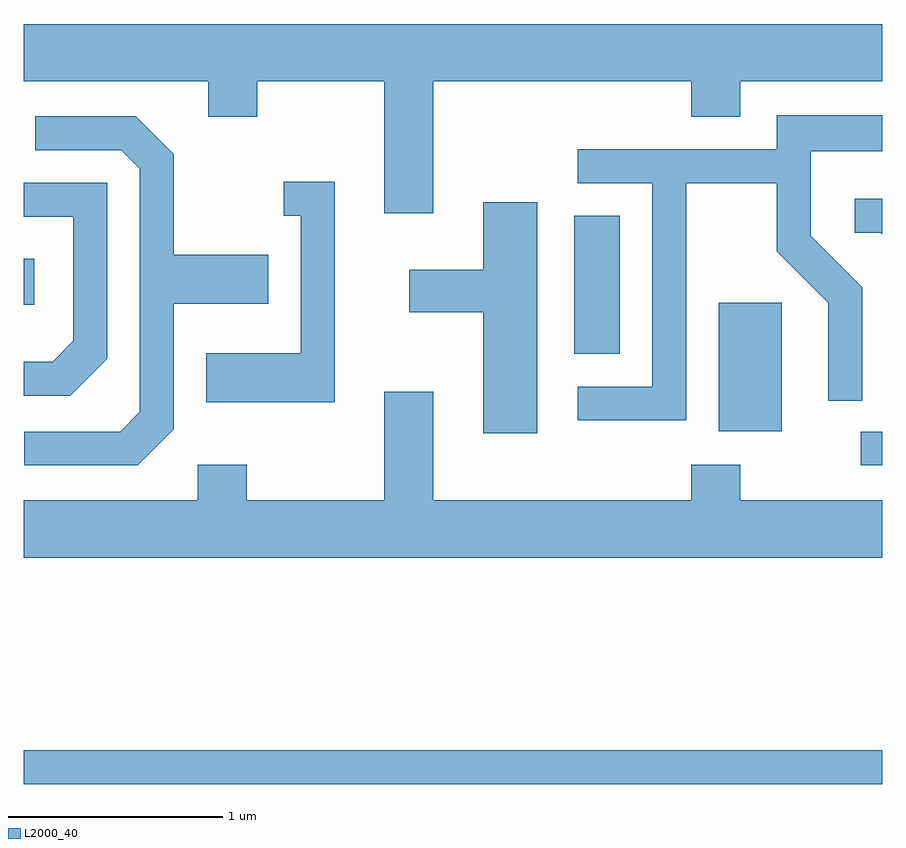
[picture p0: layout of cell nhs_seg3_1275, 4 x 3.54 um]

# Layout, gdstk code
import gdstk
lib = gdstk.Library(unit=1e-6, precision=1e-09)
def R(c, l, rs):  # rectangles x0, y0, x1, y1
    for r in rs: c.add(gdstk.rectangle(r[:2], r[2:], *l))
def P(c, l, *ps):  # polygons
    for p in ps: c.add(gdstk.Polygon(p, *l))
L2000_40 = (2000, 40)

nhs_seg3_1275 = lib.new_cell('nhs_seg3_1275')
R(nhs_seg3_1275, L2000_40, [(221.611,1218.201,225.611,1218.359), (225.513,1219.686,225.611,1219.844), (224.851,1219.846,225.144,1220.444), (224.176,1220.206,224.389,1220.849), (221.611,1220.436,221.659,1220.649)])
P(nhs_seg3_1275, L2000_40, [(223.519,1221.476),(224.721,1221.476),(224.721,1221.311),(224.949,1221.311),(224.949,1221.476),(225.611,1221.476),(225.611,1221.744),(221.611,1221.744),(221.611,1221.476),(222.471,1221.476),(222.471,1221.311),(222.699,1221.311),(222.699,1221.476),(223.291,1221.476),(223.291,1220.861),(223.519,1220.861)],
  [(224.699,1221.001),(225.121,1221.001),(225.121,1220.684),(225.361,1220.444),(225.361,1219.988),(225.519,1219.988),(225.519,1220.517),(225.279,1220.757),(225.279,1221.151),(225.611,1221.151),(225.611,1221.319),(225.121,1221.319),(225.121,1221.159),(224.193,1221.159),(224.193,1221.001),(224.541,1221.001),(224.541,1220.054),(224.193,1220.054),(224.193,1219.896),(224.699,1219.896)],
  [(222.309,1219.854),(222.309,1220.441),(222.749,1220.441),(222.749,1220.669),(222.309,1220.669),(222.309,1221.137),(222.132,1221.314),(221.663,1221.314),(221.663,1221.156),(222.064,1221.156),(222.151,1221.069),(222.151,1219.937),(222.059,1219.844),(221.613,1219.844),(221.613,1219.686),(222.142,1219.686)],
  [(223.059,1221.009),(222.823,1221.009),(222.823,1220.851),(222.901,1220.851),(222.901,1220.209),(222.461,1220.209),(222.461,1219.981),(223.059,1219.981)],
  [(221.999,1220.184),(221.999,1221.004),(221.611,1221.004),(221.611,1220.846),(221.841,1220.846),(221.841,1220.267),(221.744,1220.169),(221.611,1220.169),(221.611,1220.011),(221.827,1220.011)],
  [(225.611,1220.929),(225.483,1220.929),(225.483,1220.771),(225.604,1220.771),(225.611,1220.764)],
  [(224.004,1220.914),(223.751,1220.914),(223.751,1220.599),(223.406,1220.599),(223.406,1220.401),(223.751,1220.401),(223.751,1219.836),(224.004,1219.836)],
  [(225.611,1219.524),(224.949,1219.524),(224.949,1219.689),(224.721,1219.689),(224.721,1219.524),(223.519,1219.524),(223.519,1220.029),(223.291,1220.029),(223.291,1219.524),(222.649,1219.524),(222.649,1219.689),(222.421,1219.689),(222.421,1219.524),(221.611,1219.524),(221.611,1219.256),(225.611,1219.256)])

lib.write_gds('nhs_seg3_1275.gds')
